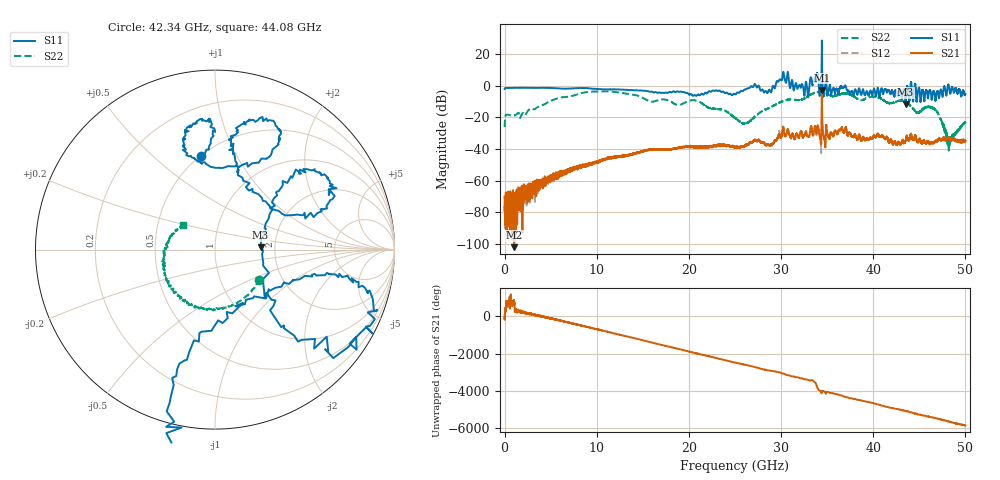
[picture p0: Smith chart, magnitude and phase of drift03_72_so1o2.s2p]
!Created with skrf (http://scikit-rf.org).
# Hz S RI R 50.0
!freq ReS11 ImS11 ReS21 ImS21 ReS12 ImS12 ReS22 ImS22
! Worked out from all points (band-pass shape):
!   10000 points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, 5.3 MHz to 50 GHz, reference 50 ohm
!   highest |S21| = -2.79 dB at 34.43 GHz (marker M1); lowest = -102.1 dB at 1.05 GHz (marker M2)
!   |S21| within 3 dB of the highest: 34.42742 GHz to 34.43424 GHz (6.815 MHz wide, 0.0198 % of centre)
!   lowest |S11| = -11.9 dB at 43.52 GHz (marker M3), VSWR 1.68, Z = 84 + j2.48 ohm
!   |S11| at or under -10 dB: 43.4857 GHz to 43.54387 GHz (58.18 MHz wide, 0.134 % of centre); 43.54907 GHz to 43.5505 GHz (1.432 MHz wide, 0.00329 % of centre); 44.70414 GHz to 44.71044 GHz (6.299 MHz wide, 0.0141 % of centre) (the widest 3 of 6)
!   |S22| runs from -41.0 to -3.6 dB; largest |S21 - S12| = 0.23
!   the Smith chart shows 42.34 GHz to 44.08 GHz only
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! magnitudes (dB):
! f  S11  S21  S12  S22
! 5.3 MHz  -2.1  -70.1  -74.6  -26.1
! 305.3 MHz  -1.4  -81.0  -80.0  -18.2
! 1.05 GHz  -1.4  -102.1  -74.2  -18.8
! 8.34 GHz  -1.5  -51.2  -50.7  -4.7
! 16.67 GHz  -4.4  -40.3  -40.4  -9.2
! 20.75 GHz  -6.3  -38.5  -38.7  -9.3
! 25.01 GHz  -5.5  -39.0  -38.6  -20.5
! 26.22 GHz  -2.3  -37.5  -37.6  -23.7
! 27.38 GHz  -1.1  -35.1  -34.9  -18.6
! 28.72 GHz  -2.5  -37.9  -37.6  -14.1
! 30.14 GHz  4.4  -29.4  -29.6  -9.9
! 32.74 GHz  2.0  -29.3  -29.2  -7.4
! 33.34 GHz  2.6  -27.6  -27.8  -5.2
! 33.82 GHz  4.0  -29.1  -29.7  -4.3
! 34.43 GHz  28.6  -2.8  -4.9  -4.0
! 36.48 GHz  -0.6  -28.0  -27.9  -5.4
! 41.67 GHz  -2.9  -35.4  -35.5  -10.9
! 43.52 GHz  -11.9  -34.8  -34.5  -10.4
! 44.79 GHz  -6.4  -35.3  -35.3  -17.2
! 46.67 GHz  -5.4  -35.4  -36.0  -14.8
! 48.22 GHz  -0.3  -32.9  -32.9  -38.8
! 50 GHz  -5.1  -35.0  -35.4  -23.4
